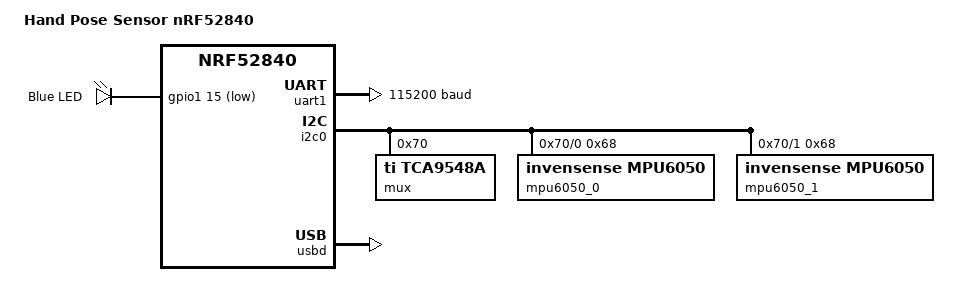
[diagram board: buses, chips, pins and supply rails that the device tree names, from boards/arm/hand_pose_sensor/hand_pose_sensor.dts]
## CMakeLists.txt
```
cmake_minimum_required(VERSION 3.20.0)
find_package(Zephyr REQUIRED HINTS $ENV{ZEPHYR_BASE})
project(firmware)

add_subdirectory(src)
#add_subdirectory(drivers)
add_subdirectory(tests)
```

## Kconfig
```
menu "Hand Pose Sensor"

if BT
menu "Bluetooth"
    menu "Services"
        config BT_SERVICE_LATENCY
            bool "Latency Service"
            default n
            select BT_LATENCY
            help
                Enable Latency Service

        config BT_SERVICE_BATTERY
            bool "Battery Service"
            default n
            select BT_BAS
            help
                Enable Battery Service

        config BT_SERVICE_HAND_POSE
            bool "Hand Pose Service"
            default n
            help
                Enable Hand Pose Service

    endmenu
endmenu
endif

menuconfig IMU
    bool "IMU Sensor"

if IMU

    config IMU_DRIVER_BUS_I2C
        bool
        default n

    config IMU_DRIVER_BUS_SPI
        bool
        default n

    choice
        bool "IMU Sensor Driver"

        config IMU_DRIVER_MPU6050
            bool "MPU-6050"
            select IMU_DRIVER_BUS_I2C
            help
              Enable MPU-6050 sensor driver

    endchoice

    if IMU_DRIVER_BUS_I2C
        config IMU_I2C_ADDRESS
            hex "IMU I2C Address"
            default 0x68 if IMU_DRIVER_MPU6050
            default 0x00
            help
                I2C address of the IMU sensor. If 0x00, default address from driver will be used.
    endif
endif

menuconfig MULTIPLEXER
    bool "Multiplexer"

if MULTIPLEXER

    config MULTIPLEXER_DRIVER_BUS_I2C
        bool
        default n

    config MULTIPLEXER_DRIVER_BUS_SPI
        bool
        default n

    choice
        bool "Multiplexer Driver"

        config MULTIPLEXER_DRIVER_TCA9548A
            bool "TCA9548A"
            select MULTIPLEXER_DRIVER_BUS_I2C
            help
              Enable TCA9548A multiplexer driver

    endchoice

    if MULTIPLEXER_DRIVER_BUS_I2C
        config MULTIPLEXER_I2C_ADDRESS_START
            hex "Multiplexer I2C Start Address"
            default 0x70 if MULTIPLEXER_DRIVER_TCA9548A
            default 0x00
            help
                I2C start address of the multiplexer. If 0x00, default address from driver will be used.

        config MULTIPLEXER_I2C_ADDRESS_END
            hex "Multiplexer I2C End Address"
            default 0x77 if MULTIPLEXER_DRIVER_TCA9548A
            default 0x00
            help
                I2C end address of the multiplexer. If 0x00, default address from driver will be used.
    endif
endif

endmenu

source "Kconfig.zephyr"
```

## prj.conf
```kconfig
#CONFIG_BUILD_OUTPUT_HEX=y

#CONFIG_MCUBOOT_SIGNATURE_KEY_FILE="C:\Users\sewer\AppData\Roaming\ncs\v2.6.1\bootloader\mcuboot\root-rsa-2048.pem"
#CONFIG_BOOTLOADER_MCUBOOT=y
# Print a banner on the UART on startup.
#CONFIG_BOOT_BANNER=y

# Enable console and printk()
#CONFIG_PRINTK=y
#CONFIG_STDOUT_CONSOLE=y
#CONFIG_FLASH_BASE_ADDRESS=0x200

#CONFIG_MCUBOOT_EXTRA_IMGTOOL_ARGS="--header-size 0x200 --pad-header --pad --max-sectors 256"

#CONFIG_LOG_PRINTK=y
#CONFIG_LOG_BACKEND_UART=y
#CONFIG_LOG=y
#CONFIG_LOG_PROCESS_TRIGGER_THRESHOLD=0
#CONFIG_RESET_ON_FATAL_ERROR=n
#CONFIG_THREAD_NAME=y

CONFIG_BT=y
CONFIG_BT_PERIPHERAL=y
CONFIG_BT_SMP=y
CONFIG_BT_GATT_CLIENT=y
CONFIG_BT_DEVICE_NAME="Zephyr GATT Write"

CONFIG_BT_BUF_ACL_RX_SIZE=255
CONFIG_BT_BUF_ACL_TX_SIZE=251
CONFIG_BT_BUF_CMD_TX_SIZE=255
CONFIG_BT_BUF_EVT_DISCARDABLE_SIZE=255

CONFIG_BT_L2CAP_TX_MTU=247

CONFIG_LOG=y

#CONFIG_BT=y
#CONFIG_BT_PERIPHERAL=y
#CONFIG_BT_DEVICE_NAME="Hand pose sensor"

#CONFIG_BT_SMP=y
#CONFIG_BT_GATT_CLIENT=y
#CONFIG_BT_GATT_DM=y
#CONFIG_HEAP_MEM_POOL_SIZE=1024
#CONFIG_BT_GATT_DM_DATA_PRINT=y

#CONFIG_CBPRINTF_FP_SUPPORT=y

CONFIG_GPIO=y
CONFIG_SENSOR=y
CONFIG_I2C=y
CONFIG_MPU6050=y
CONFIG_MPU6050_TRIGGER_NONE=y
CONFIG_I2C_TCA954X_ROOT_INIT_PRIO=61
CONFIG_I2C_TCA954X_CHANNEL_INIT_PRIO=62
```

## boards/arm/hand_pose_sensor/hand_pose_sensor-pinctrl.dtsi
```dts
&pinctrl {
	uart0_default: uart0_default {
		group1 {
			psels = <NRF_PSEL(UART_TX, 0, 6)>,
					<NRF_PSEL(UART_RTS, 0, 5)>;
		};
		group2 {
			psels = <NRF_PSEL(UART_RX, 0, 8)>,
					<NRF_PSEL(UART_CTS, 0, 7)>;
			bias-pull-up;
		};
	};

	uart0_sleep: uart0_sleep {
		group1 {
			psels = <NRF_PSEL(UART_TX, 0, 6)>,
			        <NRF_PSEL(UART_RX, 0, 8)>,
			        <NRF_PSEL(UART_RTS, 0, 5)>,
			        <NRF_PSEL(UART_CTS, 0, 7)>;
			low-power-enable;
		};
	};

	uart1_default: uart1_default {
		group1 {
			psels = <NRF_PSEL(UART_RX, 1, 1)>;
			bias-pull-up;
		};
		group2 {
			psels = <NRF_PSEL(UART_TX, 1, 2)>;
		};
	};

	uart1_sleep: uart1_sleep {
		group1 {
			psels = <NRF_PSEL(UART_RX, 1, 1)>,
					<NRF_PSEL(UART_TX, 1, 2)>;
			low-power-enable;
		};
	};

	i2c0_default: i2c0_default {
		group1 {
			psels = <NRF_PSEL(TWIM_SDA, 0, 20)>,
					<NRF_PSEL(TWIM_SCL, 0, 22)>;
		};
	};

	i2c0_sleep: i2c0_sleep {
		group1 {
			psels = <NRF_PSEL(TWIM_SDA, 0, 20)>,
					<NRF_PSEL(TWIM_SCL, 0, 22)>;
			low-power-enable;
		};
	};

	i2c1_default: i2c1_default {
		group1 {
			psels = <NRF_PSEL(TWIM_SDA, 0, 30)>,
					<NRF_PSEL(TWIM_SCL, 0, 31)>;
		};
	};

	i2c1_sleep: i2c1_sleep {
		group1 {
			psels = <NRF_PSEL(TWIM_SDA, 0, 30)>,
					<NRF_PSEL(TWIM_SCL, 0, 31)>;
			low-power-enable;
		};
	};

	pwm0_default: pwm0_default {
		group1 {
			psels = <NRF_PSEL(PWM_OUT0, 0, 13)>;
			nordic,invert;
		};
	};

	pwm0_sleep: pwm0_sleep {
		group1 {
			psels = <NRF_PSEL(PWM_OUT0, 0, 13)>;
			low-power-enable;
		};
	};

	spi0_default: spi0_default {
		group1 {
			psels = <NRF_PSEL(SPIM_SCK, 0, 27)>,
			        <NRF_PSEL(SPIM_MOSI, 0, 26)>,
			        <NRF_PSEL(SPIM_MISO, 0, 29)>;
		};
	};

	spi0_sleep: spi0_sleep {
		group1 {
			psels = <NRF_PSEL(SPIM_SCK, 0, 27)>,
			        <NRF_PSEL(SPIM_MOSI, 0, 26)>,
			        <NRF_PSEL(SPIM_MISO, 0, 29)>;
			low-power-enable;
		};
	};

	spi1_default: spi1_default {
		group1 {
			psels = <NRF_PSEL(SPIM_SCK, 0, 31)>,
			        <NRF_PSEL(SPIM_MOSI, 0, 30)>,
			        <NRF_PSEL(SPIM_MISO, 1, 8)>;
		};
	};

	spi1_sleep: spi1_sleep {
		group1 {
			psels = <NRF_PSEL(SPIM_SCK, 0, 31)>,
			        <NRF_PSEL(SPIM_MOSI, 0, 30)>,
			        <NRF_PSEL(SPIM_MISO, 1, 8)>;
			low-power-enable;
		};
	};

	spi2_default: spi2_default {
		group1 {
			psels = <NRF_PSEL(SPIM_SCK, 0, 19)>,
			        <NRF_PSEL(SPIM_MOSI, 0, 20)>,
			        <NRF_PSEL(SPIM_MISO, 0, 21)>;
		};
	};

	spi2_sleep: spi2_sleep {
		group1 {
			psels = <NRF_PSEL(SPIM_SCK, 0, 19)>,
			        <NRF_PSEL(SPIM_MOSI, 0, 20)>,
			        <NRF_PSEL(SPIM_MISO, 0, 21)>;
			low-power-enable;
		};
	};

	qspi_default: qspi_default {
		group1 {
			psels = <NRF_PSEL(QSPI_SCK, 0, 19)>,
			        <NRF_PSEL(QSPI_IO0, 0, 20)>,
			        <NRF_PSEL(QSPI_IO1, 0, 21)>,
			        <NRF_PSEL(QSPI_IO2, 0, 22)>,
			        <NRF_PSEL(QSPI_IO3, 0, 23)>,
			        <NRF_PSEL(QSPI_CSN, 0, 17)>;
			nordic,drive-mode = <NRF_DRIVE_H0H1>;
		};
	};

	qspi_sleep: qspi_sleep {
		group1 {
			psels = <NRF_PSEL(QSPI_SCK, 0, 19)>,
			        <NRF_PSEL(QSPI_IO0, 0, 20)>,
			        <NRF_PSEL(QSPI_IO1, 0, 21)>,
			        <NRF_PSEL(QSPI_IO2, 0, 22)>,
			        <NRF_PSEL(QSPI_IO3, 0, 23)>;
			low-power-enable;
		};
		group2 {
			psels = <NRF_PSEL(QSPI_CSN, 0, 17)>;
			low-power-enable;
			bias-pull-up;
		};
	};

	spi3_default: spi3_default {
		group1 {
			psels = <NRF_PSEL(SPIM_SCK, 1, 15)>,
			        <NRF_PSEL(SPIM_MISO, 1, 14)>,
			        <NRF_PSEL(SPIM_MOSI, 1, 13)>;
		};
	};

	spi3_sleep: spi3_sleep {
		group1 {
			psels = <NRF_PSEL(SPIM_SCK, 1, 15)>,
			        <NRF_PSEL(SPIM_MISO, 1, 14)>,
			        <NRF_PSEL(SPIM_MOSI, 1, 13)>;
			low-power-enable;
		};
	};

};
```

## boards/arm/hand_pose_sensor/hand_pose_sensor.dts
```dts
/dts-v1/;
#include <nordic/nrf52840_qiaa.dtsi>
#include "hand_pose_sensor-pinctrl.dtsi"
#include <zephyr/dt-bindings/input/input-event-codes.h>

/ {
	model = "Hand Pose Sensor nRF52840";
	compatible = "hand_pose_sensor,nrf52840";

	chosen {
		zephyr,console = &uart1;
		zephyr,shell-uart = &uart1;
		zephyr,uart-mcumgr = &uart1;
		zephyr,bt-mon-uart = &uart1;
		zephyr,bt-c2h-uart = &uart1;
		zephyr,sram = &sram0;
		zephyr,flash = &flash0;
		zephyr,code-partition = &slot0_partition;
	};

	leds {
		compatible = "gpio-leds";
		led0: led_0 {
			gpios = <&gpio1 15 GPIO_ACTIVE_LOW>;
			label = "Blue LED";
		};
	};

	aliases {
		watchdog0 = &wdt0;
		i2c-channel-0 = &ch0;
		i2c-channel-1 = &ch1;
		led = &led0;
		imu0 = &mpu6050_0;
		imu1 = &mpu6050_1;
	};
};

&uicr {
	gpio-as-nreset;
};

&gpiote {
	status = "okay";
};

&gpio0 {
	status = "okay";
	gpio-reserved-ranges = <0 2>, <6 1>, <8 3>, <17 7>;
};

&gpio1 {
	status = "okay";


};

&uart1 {
	compatible = "nordic,nrf-uarte";
	status = "okay";
	current-speed = <115200>;
	pinctrl-0 = <&uart1_default>;
	pinctrl-1 = <&uart1_sleep>;
	pinctrl-names = "default", "sleep";
};

&i2c0 {
	compatible = "nordic,nrf-twi";
	status = "okay";
	pinctrl-0 = <&i2c0_default>;
	pinctrl-1 = <&i2c0_sleep>;
	pinctrl-names = "default", "sleep";

	mux: tca9548a@70 {
		compatible = "ti,tca9548a";
		reg = <0x70>;
		status = "okay";
		#address-cells = <1>;
		#size-cells = <0>;

		ch0: mux_i2c@0 {
			compatible = "ti,tca9548a-channel";
			reg = <0>;
			#address-cells = <1>;
			#size-cells = <0>;

			mpu6050_0: mpu6050@68 {
				compatible = "invensense,mpu6050";
				reg = <0x68>;
				status = "okay";
			};
		};


		ch1: mux_i2c@1 {
			compatible = "ti,tca9548a-channel";
			reg = <1>;
			#address-cells = <1>;
			#size-cells = <0>;

			mpu6050_1: mpu6050@68 {
				compatible = "invensense,mpu6050";
				reg = <0x68>;
				status = "okay";
			};
		};
	};
};

&flash0 {

	partitions {
		compatible = "fixed-partitions";
		#address-cells = <1>;
		#size-cells = <1>;

		boot_partition: partition@0 {
			label = "mcuboot";
			reg = <0x00000000 0x0000C000>;
		};
		slot0_partition: partition@c000 {
			label = "image-0";
			reg = <0x0000C000 0x00076000>;
		};
		slot1_partition: partition@82000 {
			label = "image-1";
			reg = <0x00082000 0x00076000>;
		};
		storage_partition: partition@f8000 {
			label = "storage";
			reg = <0x000f8000 0x00008000>;
		};
	};
};

zephyr_udc0: &usbd {
	compatible = "nordic,nrf-usbd";
	status = "okay";
};
```

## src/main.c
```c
//#include <zephyr/drivers/gpio.h>
#include <zephyr/sys/printk.h>
#include <stdio.h>
#include <zephyr/kernel.h>
#include <zephyr/bluetooth/bluetooth.h>
#include <zephyr/bluetooth/conn.h>
#include <zephyr/bluetooth/gatt.h>
/* #include <zephyr/types.h>
#include <stddef.h>
#include <string.h>
#include <errno.h>
#include <zephyr/sys/byteorder.h>
#include <zephyr/device.h>
#include <zephyr/drivers/sensor.h>
#include <soc.h> */
//#include <zephyr/logging/log.h>

//#include "ble/ble_common.h"
//#include "imu/imu.h"

//#define LED0_NODE DT_ALIAS(led0)

//static const struct gpio_dt_spec led = GPIO_DT_SPEC_GET(LED0_NODE, gpios);

/* const uint8_t imus_fetch_interval = 100; // ms
const uint8_t imus_count = 2;
const struct device *imus[] = {0
    //DEVICE_DT_GET(DT_ALIAS(imu0)),
    //DEVICE_DT_GET(DT_ALIAS(imu1))
    }; */

/* void k_sys_fatal_error_handler(unsigned int reason, const z_arch_esf_t *esf)
{
    printf("Fatal error: %d\n", reason);
    LOG_PANIC();
    k_fatal_halt(reason);
} */
//struct bt_conn *bt_connection;
extern int ble_init(void);
extern int ble_advertise(void);


int main(void)
{
    int err = 0;

    printf("Starting application\n");
    printf("Starting application\n");
    printf("Starting application\n");
    printf("Starting application\n");
    printk("Starting application\n");
    //LOG_INF("Starting application\n");

    /* err = gpio_is_ready_dt(&led);
    if (err) {
        LOG_ERR("LED pin is not ready\n");
        printk("LED pin is not ready\n");
		return 0;
	}

	err = gpio_pin_configure_dt(&led, GPIO_OUTPUT_ACTIVE);
    if (err) {
        LOG_ERR("Error configuring LED pin\n");
        printk("Error configuring LED pin\n");
        return err;
    }

    gpio_pin_set_dt(&led, 1); */

    // Bluetooth init
    err = ble_init();
    if (err)
    {
        printf("Error initializing BLE\n");
    }

    err = ble_advertise();
    if (err)
    {
        printf("Error starting advertising\n");
    }

    //LOG_INF("Bluetooth initialized\n");
    printf("Bluetooth initialized\n");

    // IMUs init
    /* uint32_t imus_last_fetch = 0;
    imu_sample_t imu_samples[IMU_SAMPLES_COUNT] = {0};
    sensor_service_data_t sensor_service_data = {0};
    for (uint8_t i = 0; i < imus_count; i++)
    {
        err = imu_init(imus[i]);
        if (err)
        {
            LOG_ERR("Error initializing IMU %d\n", i);
            printk("Error initializing IMU %d\n", i);
            return err;
        }

        LOG_INF("IMU %d initialized\n", i);
        printk("IMU %d initialized\n", i);
    } */

    //gpio_pin_set_dt(&led, 0);

    printf("Starting loop\n");
    while (1)
    {
        /* if (k_uptime_delta(&imus_last_fetch) >= imus_fetch_interval)
        {
            for (uint8_t i = 0; i < imus_count; i++)
            {
                imu_sample_t sample;
                err = imu_fetch_data(imus[i], &sample);
                if (err)
                {
                    LOG_ERR("Error fetching data from IMU %d\n", i);
                    printk("Error fetching data from IMU %d\n", i);
                    return err;
                }

                imu_samples[i] = sample;
                printk("IMU %d: Accel: %f, %f, %f; Gyro: %f, %f, %f\n", i, sample.accel[0], sample.accel[1], sample.accel[2], sample.gyro[0], sample.gyro[1], sample.gyro[2]);
            }
            sensor_service_data.delta_time = k_uptime_delta(&imus_last_fetch);
            sensor_service_data.count = imus_count;
            memcpy(sensor_service_data.samples, imu_samples, sizeof(imu_sample_t) * IMU_SAMPLES_COUNT);

            imus_last_fetch = k_uptime_get_32();
            sensor_service_notify_data(&sensor_service_data);
        } */

        k_sleep(K_MSEC(1000));
        //LOG_INF("Sleeping\n");
        printf("Sleeping\n");
    }

    return 0;
}
```

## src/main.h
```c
#ifndef _MAIN_H_
#define _MAIN_H_

#include <zephyr/types.h>
#include <stddef.h>
#include <string.h>
#include <errno.h>
#include <zephyr/sys/printk.h>
#include <zephyr/sys/byteorder.h>
#include <zephyr/kernel.h>
#include <zephyr/device.h>
#include <zephyr/drivers/sensor.h>
#include <soc.h>

const uint8_t imus_fetch_interval = 100; // ms
const uint8_t imus_count = 2;
const struct device *imus[] = {
    /*  DEVICE_DT_GET(DT_ALIAS(imu0)),
     DEVICE_DT_GET(DT_ALIAS(imu1)) */
};

#endif
```
